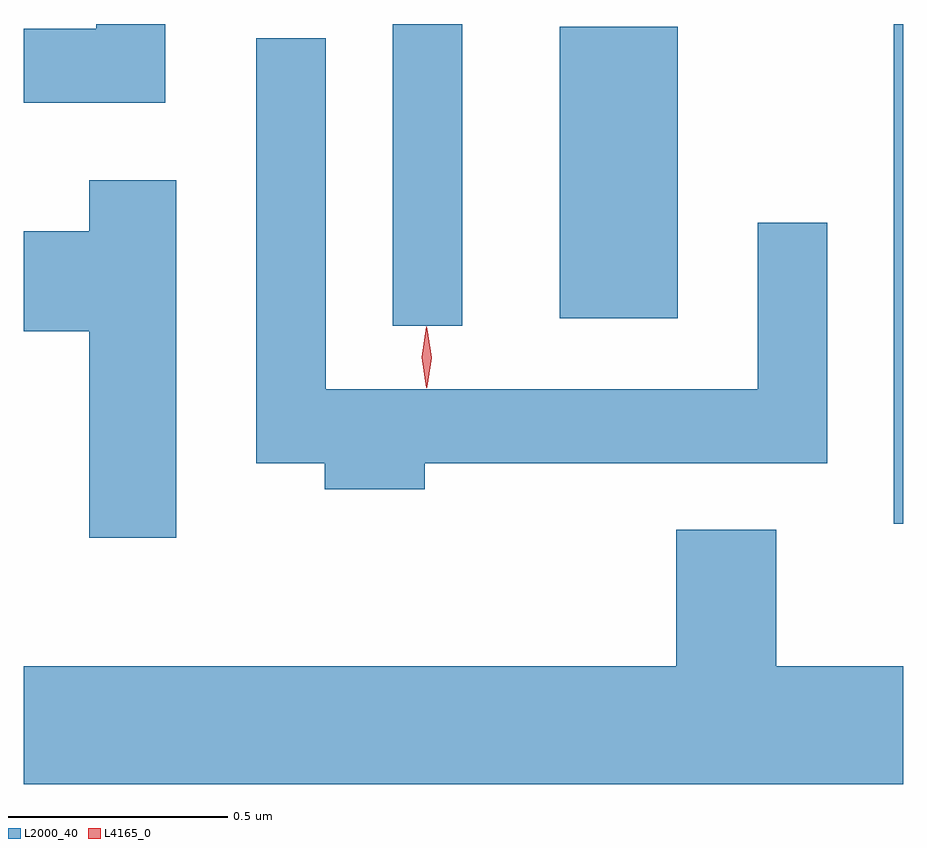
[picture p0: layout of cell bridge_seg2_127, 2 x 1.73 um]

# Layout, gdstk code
import gdstk
lib = gdstk.Library(unit=1e-6, precision=1e-09)
def R(c, l, rs):  # rectangles x0, y0, x1, y1
    for r in rs: c.add(gdstk.rectangle(r[:2], r[2:], *l))
def P(c, l, *ps):  # polygons
    for p in ps: c.add(gdstk.Polygon(p, *l))
L2000_40 = (2000, 40)
L4165_0 = (4165, 0)

bridge_seg2_127 = lib.new_cell('bridge_seg2_127')
R(bridge_seg2_127, L2000_40, [(1027.056,1104.408,1027.077,1105.545), (1025.916,1104.858,1026.074,1105.545), (1026.296,1104.876,1026.564,1105.539)])
P(bridge_seg2_127, L2000_40, [(1025.399,1105.545),(1025.241,1105.545),(1025.241,1105.534),(1025.077,1105.534),(1025.077,1105.366),(1025.399,1105.366)],
  [(1025.989,1104.546),(1026.904,1104.546),(1026.904,1105.093),(1026.746,1105.093),(1026.746,1104.714),(1025.764,1104.714),(1025.764,1105.513),(1025.606,1105.513),(1025.606,1104.546),(1025.761,1104.546),(1025.761,1104.486),(1025.989,1104.486)],
  [(1025.424,1105.189),(1025.226,1105.189),(1025.226,1105.074),(1025.077,1105.074),(1025.077,1104.846),(1025.226,1104.846),(1025.226,1104.376),(1025.424,1104.376)],
  [(1027.077,1104.084),(1026.789,1104.084),(1026.789,1104.394),(1026.561,1104.394),(1026.561,1104.084),(1025.077,1104.084),(1025.077,1103.816),(1027.077,1103.816)])
P(bridge_seg2_127, L4165_0, [(1025.992,1104.717),(1025.992,1104.717),(1025.982,1104.787),(1025.992,1104.856),(1025.992,1104.856),(1025.993,1104.856),(1026.002,1104.787),(1025.993,1104.717)],
  [(1025.995,1104.719),(1025.994,1104.72),(1025.985,1104.786),(1025.994,1104.852),(1025.995,1104.853),(1025.995,1104.852),(1026.005,1104.786),(1025.995,1104.72)])

lib.write_gds('bridge_seg2_127.gds')
